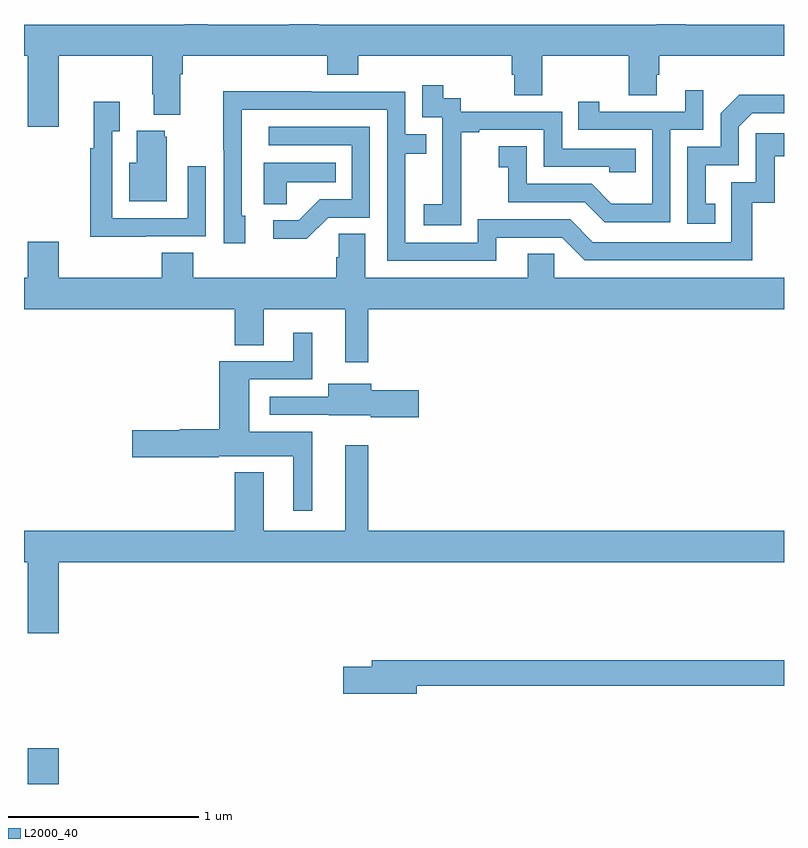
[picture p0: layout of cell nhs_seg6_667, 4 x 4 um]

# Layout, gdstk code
import gdstk
lib = gdstk.Library(unit=1e-6, precision=1e-09)
def R(c, l, rs):  # rectangles x0, y0, x1, y1
    for r in rs: c.add(gdstk.rectangle(r[:2], r[2:], *l))
def P(c, l, *ps):  # polygons
    for p in ps: c.add(gdstk.Polygon(p, *l))
L2000_40 = (2000, 40)

nhs_seg6_667 = lib.new_cell('nhs_seg6_667')
R(nhs_seg6_667, L2000_40, [(153.02,947.5,153.184,947.689)])
P(nhs_seg6_667, L2000_40, [(153.184,951.332),(153.676,951.332),(153.676,951.13),(153.683,951.13),(153.683,951.023),(153.823,951.023),(153.823,951.236),(153.836,951.236),(153.836,951.332),(154.595,951.332),(154.595,951.233),(154.76,951.233),(154.76,951.332),(155.567,951.332),(155.567,951.234),(155.579,951.234),(155.579,951.124),(155.727,951.124),(155.727,951.332),(156.184,951.332),(156.184,951.124),(156.331,951.124),(156.331,951.234),(156.344,951.234),(156.344,951.332),(157,951.332),(157,951.496),(156.482,951.496),(156.482,951.5),(156.329,951.5),(156.329,951.496),(154.55,951.496),(154.55,951.5),(154.397,951.5),(154.397,951.496),(153.967,951.496),(153.967,951.5),(153.845,951.5),(153.845,951.496),(153,951.496),(153,951.332),(153.02,951.332),(153.02,950.958),(153.184,950.958)],
  [(155.301,950.647),(155.3,950.647),(155.3,950.931),(155.395,950.931),(155.395,950.943),(155.736,950.943),(155.736,950.748),(156.081,950.748),(156.081,950.721),(156.221,950.721),(156.221,950.844),(155.832,950.844),(155.832,951.039),(155.298,951.039),(155.298,951.108),(155.206,951.108),(155.206,951.178),(155.097,951.178),(155.097,951.009),(155.202,951.009),(155.202,950.78),(155.201,950.78),(155.201,950.551),(155.103,950.551),(155.103,950.441),(155.301,950.441)],
  [(156.402,950.943),(156.576,950.943),(156.576,951.151),(156.479,951.151),(156.479,951.039),(156.028,951.039),(156.028,951.091),(155.917,951.091),(155.917,950.943),(156.306,950.943),(156.306,950.554),(156.092,950.554),(155.988,950.658),(155.646,950.658),(155.646,950.857),(155.499,950.857),(155.499,950.747),(155.548,950.747),(155.548,950.562),(155.951,950.562),(156.056,950.457),(156.402,950.457)],
  [(155.485,950.376),(155.832,950.376),(155.952,950.256),(156.832,950.256),(156.832,950.559),(156.95,950.559),(156.95,950.805),(157,950.805),(157,950.926),(156.852,950.926),(156.852,950.667),(156.723,950.667),(156.723,950.352),(155.994,950.352),(155.874,950.472),(155.388,950.472),(155.388,950.349),(155.007,950.349),(155.007,950.818),(155.117,950.818),(155.117,950.919),(155.007,950.919),(155.007,951.144),(154.511,951.144),(154.511,951.146),(154.048,951.146),(154.048,950.839),(154.05,950.839),(154.05,950.346),(154.165,950.346),(154.165,950.49),(154.146,950.49),(154.146,951.048),(154.911,951.048),(154.911,950.253),(155.485,950.253)],
  [(156.638,950.553),(156.589,950.553),(156.589,950.757),(156.762,950.757),(156.762,950.958),(156.834,951.03),(157,951.03),(157,951.128),(156.764,951.128),(156.666,951.03),(156.666,950.853),(156.492,950.853),(156.492,950.448),(156.638,950.448)],
  [(153.641,950.382),(153.957,950.382),(153.957,950.752),(153.861,950.752),(153.861,950.478),(153.465,950.478),(153.465,950.935),(153.505,950.935),(153.505,951.091),(153.368,951.091),(153.368,950.846),(153.349,950.846),(153.349,950.381),(153.641,950.381)],
  [(154.602,950.481),(154.821,950.481),(154.821,950.958),(154.287,950.958),(154.287,950.862),(154.725,950.862),(154.725,950.577),(154.556,950.577),(154.445,950.466),(154.311,950.466),(154.311,950.369),(154.489,950.369)],
  [(153.751,950.907),(153.74,950.907),(153.74,950.938),(153.593,950.938),(153.593,950.77),(153.554,950.77),(153.554,950.567),(153.751,950.567)],
  [(154.383,950.666),(154.64,950.666),(154.64,950.77),(154.262,950.77),(154.262,950.551),(154.383,950.551)],
  [(153.725,950.297),(153.725,950.164),(153.184,950.164),(153.184,950.353),(153.02,950.353),(153.02,950.164),(153,950.164),(153,950),(154.109,950),(154.109,949.81),(154.261,949.81),(154.261,950),(154.691,950),(154.691,949.719),(154.813,949.719),(154.813,950),(157,950),(157,950.164),(155.79,950.164),(155.79,950.291),(155.651,950.291),(155.651,950.164),(154.795,950.164),(154.795,950.396),(154.656,950.396),(154.656,950.273),(154.643,950.273),(154.643,950.164),(153.89,950.164),(153.89,950.297)],
  [(154.516,949.354),(154.186,949.354),(154.186,949.629),(154.516,949.629),(154.516,949.876),(154.418,949.876),(154.418,949.725),(154.028,949.725),(154.028,949.367),(153.819,949.367),(153.819,949.361),(153.57,949.361),(153.57,949.219),(154.025,949.219),(154.025,949.226),(154.418,949.226),(154.418,948.939),(154.516,948.939)],
  [(155.077,949.572),(154.828,949.572),(154.828,949.606),(154.601,949.606),(154.601,949.539),(154.293,949.539),(154.293,949.443),(154.605,949.443),(154.605,949.442),(154.824,949.442),(154.824,949.43),(155.077,949.43)],
  [(153.184,948.668),(157,948.668),(157,948.832),(154.813,948.832),(154.813,949.282),(154.691,949.282),(154.691,948.832),(154.261,948.832),(154.261,949.141),(154.109,949.141),(154.109,948.832),(153,948.832),(153,948.668),(153.02,948.668),(153.02,948.294),(153.184,948.294)],
  [(155.068,948.016),(157,948.016),(157,948.152),(154.829,948.152),(154.829,948.116),(154.68,948.116),(154.68,947.974),(155.068,947.974)])

lib.write_gds('nhs_seg6_667.gds')
